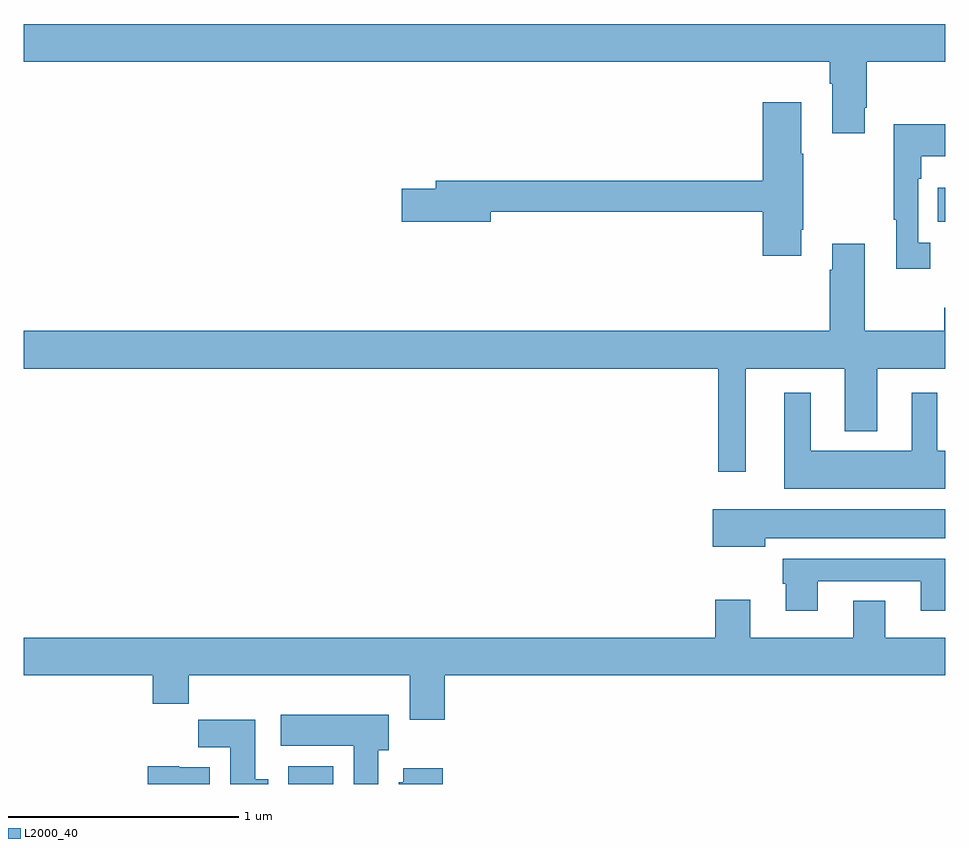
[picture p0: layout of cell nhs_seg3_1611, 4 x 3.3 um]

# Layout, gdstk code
import gdstk
lib = gdstk.Library(unit=1e-6, precision=1e-09)
def R(c, l, rs):  # rectangles x0, y0, x1, y1
    for r in rs: c.add(gdstk.rectangle(r[:2], r[2:], *l))
def P(c, l, *ps):  # polygons
    for p in ps: c.add(gdstk.Polygon(p, *l))
L2000_40 = (2000, 40)

nhs_seg3_1611 = lib.new_cell('nhs_seg3_1611')
R(nhs_seg3_1611, L2000_40, [(194.147,744.4,194.344,744.478), (196.969,746.842,197,746.989)])
P(nhs_seg3_1611, L2000_40, [(193,747.536),(196.499,747.536),(196.499,747.44),(196.511,747.44),(196.511,747.225),(196.651,747.225),(196.651,747.337),(196.659,747.337),(196.659,747.536),(197,747.536),(197,747.7),(193,747.7)],
  [(196.375,746.806),(196.383,746.806),(196.383,747.137),(196.375,747.137),(196.375,747.361),(196.208,747.361),(196.208,747.02),(194.789,747.02),(194.789,746.984),(194.64,746.984),(194.64,746.842),(195.028,746.842),(195.028,746.884),(196.208,746.884),(196.208,746.694),(196.375,746.694)],
  [(196.936,746.75),(196.884,746.75),(196.884,747.029),(196.897,747.029),(196.897,747.125),(197,747.125),(197,747.265),(196.776,747.265),(196.776,746.849),(196.787,746.849),(196.787,746.637),(196.936,746.637)],
  [(196.135,746.204),(196.565,746.204),(196.565,745.931),(196.705,745.931),(196.705,746.204),(197,746.204),(197,746.467),(196.996,746.467),(196.996,746.368),(196.651,746.368),(196.651,746.746),(196.511,746.746),(196.511,746.633),(196.499,746.633),(196.499,746.368),(193,746.368),(193,746.204),(196.014,746.204),(196.014,745.755),(196.135,745.755)],
  [(197,745.846),(196.966,745.846),(196.966,746.098),(196.856,746.098),(196.856,745.846),(196.417,745.846),(196.417,746.098),(196.301,746.098),(196.301,745.682),(197,745.682)],
  [(196.219,745.466),(197,745.466),(197,745.594),(195.99,745.594),(195.99,745.43),(196.219,745.43)],
  [(196.447,745.281),(196.895,745.281),(196.895,745.152),(197,745.152),(197,745.377),(196.295,745.377),(196.295,745.269),(196.307,745.269),(196.307,745.152),(196.447,745.152)],
  [(194.828,744.872),(197,744.872),(197,745.036),(196.741,745.036),(196.741,745.196),(196.601,745.196),(196.601,745.036),(196.153,745.036),(196.153,745.201),(196.001,745.201),(196.001,745.036),(193,745.036),(193,744.872),(193.559,744.872),(193.559,744.748),(193.715,744.748),(193.715,744.872),(194.675,744.872),(194.675,744.678),(194.828,744.678)],
  [(194.539,744.546),(194.584,744.546),(194.584,744.7),(194.115,744.7),(194.115,744.566),(194.432,744.566),(194.432,744.4),(194.539,744.4)],
  [(194.062,744.42),(194.005,744.42),(194.005,744.679),(193.756,744.679),(193.756,744.56),(193.895,744.56),(193.895,744.4),(194.062,744.4)],
  [(193.807,744.472),(193.674,744.472),(193.674,744.478),(193.538,744.478),(193.538,744.4),(193.807,744.4)],
  [(194.819,744.469),(194.648,744.469),(194.648,744.408),(194.627,744.408),(194.627,744.4),(194.819,744.4)])

lib.write_gds('nhs_seg3_1611.gds')
